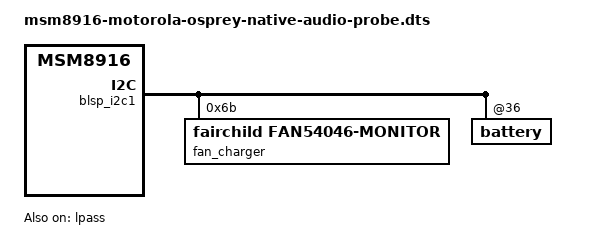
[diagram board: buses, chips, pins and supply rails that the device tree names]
// SPDX-License-Identifier: GPL-2.0-only
#include "msm8916-motorola-osprey-native-wifi-probe.dts"
#include <dt-bindings/sound/apq8016-lpass.h>
&blsp_i2c1 {
 fan_charger: charger@6b {
  compatible = "fairchild,fan54046-monitor";
  reg = <0x6b>;
 };
 battery@36 { power-supplies = <&fan_charger>; };
};
&mpss { status = "disabled"; };
&apr { status = "disabled"; };
&bam_dmux { status = "disabled"; };
&lpass { status = "okay"; };
&sound {
 compatible = "qcom,apq8016-sbc-sndcard";
 model = "osprey-mainline";
 /delete-node/ frontend0-dai-link;
 /delete-node/ frontend1-dai-link;
 /delete-node/ frontend2-dai-link;
 /delete-node/ frontend3-dai-link;
 /delete-node/ frontend4-dai-link;
 /delete-node/ backend0-dai-link;
 /delete-node/ backend1-dai-link;
 primary-dai-link {
  link-name = "WCD";
  cpu { sound-dai = <&lpass MI2S_PRIMARY>; };
  codec { sound-dai = <&lpass_codec 0>, <&pm8916_codec 0>; };
 };
 tertiary-dai-link {
  link-name = "WCD-Capture";
  cpu { sound-dai = <&lpass MI2S_TERTIARY>; };
  codec { sound-dai = <&lpass_codec 1>, <&pm8916_codec 1>; };
 };
};
